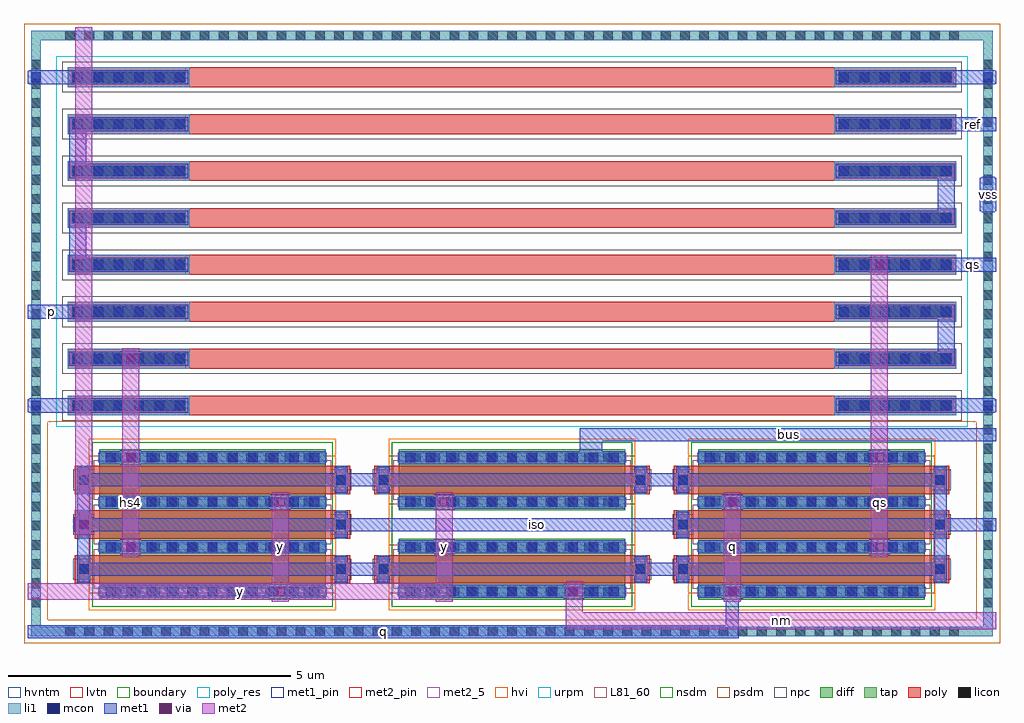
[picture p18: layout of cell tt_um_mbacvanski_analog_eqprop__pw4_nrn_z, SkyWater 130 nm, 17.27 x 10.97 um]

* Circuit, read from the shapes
.subckt tt_um_mbacvanski_analog_eqprop__pw4_nrn_z bus hs4 iso nm p q qs ref vss y
XM1 hs4 iso y vss sky130_fd_pr__nfet_05v0_nvt w=4 l=0.5 m=3
XM2 y iso nm vss sky130_fd_pr__nfet_05v0_nvt w=4 l=0.5
XM3 bus iso y vss sky130_fd_pr__nfet_05v0_nvt w=4 l=0.5
XM4 qs iso q vss sky130_fd_pr__nfet_05v0_nvt w=4 l=0.5 m=3
XR5 vss vss vss sky130_fd_pr__res_xhigh_po w=0.35 l=11.44 m=2
XR6 tt_um_mbacvanski_analog_eqprop__strips8_1/R1_5 hs4 vss sky130_fd_pr__res_xhigh_po w=0.35 l=11.44
XR7 tt_um_mbacvanski_analog_eqprop__strips8_1/R1_5 p vss sky130_fd_pr__res_xhigh_po w=0.35 l=11.44
XR8 qs tt_um_mbacvanski_analog_eqprop__strips8_1/R2_3 vss sky130_fd_pr__res_xhigh_po w=0.35 l=11.44
XR9 tt_um_mbacvanski_analog_eqprop__strips8_1/R1_2 tt_um_mbacvanski_analog_eqprop__strips8_1/R2_3 vss sky130_fd_pr__res_xhigh_po w=0.35 l=11.44
XR10 tt_um_mbacvanski_analog_eqprop__strips8_1/R1_2 tt_um_mbacvanski_analog_eqprop__strips8_1/R2_1 vss sky130_fd_pr__res_xhigh_po w=0.35 l=11.44
XR11 ref tt_um_mbacvanski_analog_eqprop__strips8_1/R2_1 vss sky130_fd_pr__res_xhigh_po w=0.35 l=11.44
.ends

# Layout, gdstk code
from math import pi, radians
import gdstk
lib = gdstk.Library(unit=1e-6, precision=1e-09)
def R(c, l, rs):  # rectangles x0, y0, x1, y1
    for r in rs: c.add(gdstk.rectangle(r[:2], r[2:], *l))
def A(c, l, x, y, w, h, nx, ny, dx, dy):  # array of equal rectangles
    R(c, l, [(x+i*dx, y+j*dy, x+i*dx+w, y+j*dy+h) for i in range(nx) for j in range(ny)])
diff = (65, 20)
tap = (65, 44)
poly_res = (66, 13)
poly = (66, 20)
licon = (66, 44)
li1 = (67, 20)
mcon = (67, 44)
met1_pin = (68, 16)
met1 = (68, 20)
via = (68, 44)
met2_5 = (69, 5)
met2_pin = (69, 16)
met2 = (69, 20)
hvi = (75, 20)
urpm = (79, 20)
L81_60 = (81, 60)
nsdm = (93, 44)
psdm = (94, 20)
npc = (95, 20)
hvntm = (125, 20)
lvtn = (125, 44)
boundary = (235, 4)

tt_um_mbacvanski_analog_ = lib.new_cell('tt_um_mbacvanski_analog_eqprop__sw4')
R(tt_um_mbacvanski_analog_, diff, [(-0.54,-2,0.54,2)])
R(tt_um_mbacvanski_analog_, poly, [(-0.25,-2.44,0.25,2.44)])
A(tt_um_mbacvanski_analog_, licon, -0.48, -1.785, 0.17, 0.17, 1, 11, 0, 0.34)
A(tt_um_mbacvanski_analog_, licon, 0.31, -1.785, 0.17, 0.17, 1, 11, 0, 0.34)
R(tt_um_mbacvanski_analog_, licon, [(-0.085,-2.36,0.085,-2.19), (-0.085,2.19,0.085,2.36)])
R(tt_um_mbacvanski_analog_, li1, [(-0.25,-2.36,0.25,-2.19), (-0.48,-2.02,-0.31,2.02), (0.31,-2.02,0.48,2.02), (-0.25,2.19,0.25,2.36)])
A(tt_um_mbacvanski_analog_, mcon, -0.48, -1.885, 0.17, 0.17, 1, 11, 0, 0.36)
A(tt_um_mbacvanski_analog_, mcon, 0.31, -1.885, 0.17, 0.17, 1, 11, 0, 0.36)
R(tt_um_mbacvanski_analog_, mcon, [(-0.085,-2.36,0.085,-2.19), (-0.085,2.19,0.085,2.36)])
R(tt_um_mbacvanski_analog_, met1, [(-0.23,-2.39,0.23,-2.16), (-0.51,-2,-0.28,2), (0.28,-2,0.51,2), (-0.23,2.16,0.23,2.39)])
R(tt_um_mbacvanski_analog_, hvi, [(-0.725,-2.185,0.725,2.185)])
R(tt_um_mbacvanski_analog_, L81_60, [(-0.35,-2.1,0.35,2.1)])
R(tt_um_mbacvanski_analog_, nsdm, [(-0.665,-2.125,0.665,2.125)])
R(tt_um_mbacvanski_analog_, npc, [(-0.185,-2.46,0.185,-2.09), (-0.185,2.09,0.185,2.46)])
R(tt_um_mbacvanski_analog_, hvntm, [(-0.725,-2.185,0.725,2.185)])
R(tt_um_mbacvanski_analog_, lvtn, [(-0.43,-2.18,0.43,2.18)])
tt_um_mbacvanski_analog_.add(gdstk.Label('G', (0,2.275), layer=67, texttype=5))
tt_um_mbacvanski_analog_.add(gdstk.Label('S', (0.395,0), layer=67, texttype=5))
tt_um_mbacvanski_analog_.add(gdstk.Label('D', (-0.395,0), layer=67, texttype=5))

c_tt_um_mbacvanski_analog_ = lib.new_cell('tt_um_mbacvanski_analog_eqprop__strips8')
A(c_tt_um_mbacvanski_analog_, poly_res, -3.08, -5.78, 0.35, 11.56, 8, 1, 0.83, 0)
A(c_tt_um_mbacvanski_analog_, poly, -3.08, -7.86, 0.35, 15.72, 8, 1, 0.83, 0)
A(c_tt_um_mbacvanski_analog_, licon, -3, -7.78, 0.19, 2, 8, 2, 0.83, 13.56)
A(c_tt_um_mbacvanski_analog_, li1, -3.08, -7.86, 0.35, 2.16, 8, 2, 0.83, 13.56)
A(c_tt_um_mbacvanski_analog_, mcon, -2.99, -7.765, 0.17, 0.17, 8, 6, 0.83, 0.36)
A(c_tt_um_mbacvanski_analog_, mcon, -2.99, 5.79, 0.17, 0.17, 8, 6, 0.83, 0.36)
A(c_tt_um_mbacvanski_analog_, met1, -3.03, -7.83, 0.25, 2.105, 8, 2, 0.83, 13.555)
R(c_tt_um_mbacvanski_analog_, urpm, [(-3.28,-8.06,3.28,8.06)])
R(c_tt_um_mbacvanski_analog_, psdm, [(-3.19,-7.97,3.19,7.97)])
A(c_tt_um_mbacvanski_analog_, npc, -3.175, -7.955, 0.54, 15.91, 8, 1, 0.83, 0)
c_tt_um_mbacvanski_analog_.add(gdstk.Label('R2_7', (2.905,-7.685), layer=67, texttype=5))
c_tt_um_mbacvanski_analog_.add(gdstk.Label('R1_7', (2.905,7.685), layer=67, texttype=5))
c_tt_um_mbacvanski_analog_.add(gdstk.Label('R2_6', (2.075,-7.685), layer=67, texttype=5))
c_tt_um_mbacvanski_analog_.add(gdstk.Label('R1_0', (-2.905,7.685), layer=67, texttype=5))
c_tt_um_mbacvanski_analog_.add(gdstk.Label('R1_3', (-0.415,7.685), layer=67, texttype=5))
c_tt_um_mbacvanski_analog_.add(gdstk.Label('R1_1', (-2.075,7.685), layer=67, texttype=5))
c_tt_um_mbacvanski_analog_.add(gdstk.Label('R2_5', (1.245,-7.685), layer=67, texttype=5))
c_tt_um_mbacvanski_analog_.add(gdstk.Label('R2_0', (-2.905,-7.685), layer=67, texttype=5))
c_tt_um_mbacvanski_analog_.add(gdstk.Label('R2_1', (-2.075,-7.685), layer=67, texttype=5))
c_tt_um_mbacvanski_analog_.add(gdstk.Label('R2_2', (-1.245,-7.685), layer=67, texttype=5))
c_tt_um_mbacvanski_analog_.add(gdstk.Label('R1_6', (2.075,7.685), layer=67, texttype=5))
c_tt_um_mbacvanski_analog_.add(gdstk.Label('R2_3', (-0.415,-7.685), layer=67, texttype=5))
c_tt_um_mbacvanski_analog_.add(gdstk.Label('R1_2', (-1.245,7.685), layer=67, texttype=5))
c_tt_um_mbacvanski_analog_.add(gdstk.Label('R2_4', (0.415,-7.685), layer=67, texttype=5))
c_tt_um_mbacvanski_analog_.add(gdstk.Label('R1_5', (1.245,7.685), layer=67, texttype=5))
c_tt_um_mbacvanski_analog_.add(gdstk.Label('R1_4', (0.415,7.685), layer=67, texttype=5))

c_tt_um_mbacvanski_analog__ = lib.new_cell('tt_um_mbacvanski_analog_eqprop__sw12')
R(c_tt_um_mbacvanski_analog__, diff, [(-1.33,-2,1.33,2)])
A(c_tt_um_mbacvanski_analog__, poly, -1.04, -2.44, 0.5, 4.88, 3, 1, 0.79, 0)
A(c_tt_um_mbacvanski_analog__, licon, -0.875, -2.36, 0.17, 0.17, 3, 2, 0.79, 4.55)
A(c_tt_um_mbacvanski_analog__, licon, -1.27, -1.785, 0.17, 0.17, 4, 11, 0.79, 0.34)
A(c_tt_um_mbacvanski_analog__, li1, -1.04, -2.36, 0.5, 0.17, 3, 2, 0.79, 4.55)
A(c_tt_um_mbacvanski_analog__, li1, -1.27, -2.02, 0.17, 4.04, 4, 1, 0.79, 0)
A(c_tt_um_mbacvanski_analog__, mcon, -0.875, -2.36, 0.17, 0.17, 3, 2, 0.79, 4.55)
A(c_tt_um_mbacvanski_analog__, mcon, -1.27, -1.885, 0.17, 0.17, 4, 11, 0.79, 0.36)
A(c_tt_um_mbacvanski_analog__, met1, -1.02, -2.39, 0.46, 0.23, 3, 2, 0.79, 4.55)
A(c_tt_um_mbacvanski_analog__, met1, -1.3, -2, 0.23, 4, 4, 1, 0.79, 0)
R(c_tt_um_mbacvanski_analog__, hvi, [(-1.515,-2.185,1.515,2.185)])
A(c_tt_um_mbacvanski_analog__, L81_60, -1.14, -2.1, 0.7, 4.2, 3, 1, 0.79, 0)
R(c_tt_um_mbacvanski_analog__, nsdm, [(-1.455,-2.125,1.455,2.125)])
A(c_tt_um_mbacvanski_analog__, npc, -0.975, -2.46, 0.37, 0.37, 3, 2, 0.79, 4.55)
R(c_tt_um_mbacvanski_analog__, hvntm, [(-1.515,-2.185,1.515,2.185)])
R(c_tt_um_mbacvanski_analog__, lvtn, [(-1.22,-2.18,1.22,2.18)])
c_tt_um_mbacvanski_analog__.add(gdstk.Label('G2', (0.79,2.275), layer=67, texttype=5))
c_tt_um_mbacvanski_analog__.add(gdstk.Label('S2', (1.185,0), layer=67, texttype=5))
c_tt_um_mbacvanski_analog__.add(gdstk.Label('D2', (0.395,0), layer=67, texttype=5))
c_tt_um_mbacvanski_analog__.add(gdstk.Label('G1', (0,2.275), layer=67, texttype=5))
c_tt_um_mbacvanski_analog__.add(gdstk.Label('S1', (-0.395,0), layer=67, texttype=5))
c_tt_um_mbacvanski_analog__.add(gdstk.Label('G0', (-0.79,2.275), layer=67, texttype=5))
c_tt_um_mbacvanski_analog__.add(gdstk.Label('D0', (-1.185,0), layer=67, texttype=5))

c_tt_um_mbacvanski_analog___ = lib.new_cell('tt_um_mbacvanski_analog_eqprop__pw4_nrn_z')
R(c_tt_um_mbacvanski_analog___, tap, [(0,0,17.02,0.17), (0,0.17,0.17,10.55), (16.85,0.17,17.02,10.55), (0,10.55,17.02,10.72)])
A(c_tt_um_mbacvanski_analog___, licon, 0.605, 0, 0.17, 0.17, 47, 2, 0.34, 10.55)
A(c_tt_um_mbacvanski_analog___, licon, 0, 0.515, 0.17, 0.17, 1, 29, 0, 0.34)
A(c_tt_um_mbacvanski_analog___, licon, 16.85, 0.515, 0.17, 0.17, 1, 29, 0, 0.34)
R(c_tt_um_mbacvanski_analog___, li1, [(0,0,17.02,0.17), (0,0.17,0.17,10.55), (16.85,0.17,17.02,10.55), (0,10.55,17.02,10.72)])
R(c_tt_um_mbacvanski_analog___, mcon, [(0,4,0.17,4.17), (16.85,4,17.02,4.17), (16.85,7.735,17.02,7.905), (0,9.81,0.17,9.98), (16.85,9.81,17.02,9.98)])
R(c_tt_um_mbacvanski_analog___, met1_pin, [(6.18,0.035,6.28,0.135), (8.9,1.93,9,2.03), (13.345,3.515,13.445,3.615), (0.31,5.695,0.41,5.795), (16.61,6.525,16.71,6.625), (16.885,7.77,16.985,7.87), (16.61,9.015,16.71,9.115)])
R(c_tt_um_mbacvanski_analog___, met1, [(-0.06,-0.03,12.525,0.2), (12.295,0.2,12.525,0.665), (4.23,0.665,4.59,0.925), (9.43,0.665,9.79,0.925), (12.23,0.665,12.59,0.925), (0.82,0.96,1.05,1.075), (15.97,0.96,16.2,1.075), (0.82,1.075,16.2,1.305), (0.82,1.305,1.05,1.85), (15.97,1.305,16.2,1.865), (1.58,1.455,1.94,1.715), (7.13,1.455,7.49,1.715), (14.83,1.455,15.19,1.715), (0.755,1.85,1.115,1.865), (0.755,1.865,17.08,2.095), (0.755,2.095,1.115,2.11), (15.97,2.095,16.2,2.655), (0.82,2.11,1.05,2.655), (4.23,2.245,4.59,2.505), (7.13,2.245,7.49,2.505), (12.23,2.245,12.59,2.505), (0.82,2.655,16.2,2.885), (0.82,2.885,1.05,3), (15.97,2.885,16.2,3), (1.58,3.035,1.94,3.295), (14.83,3.035,15.19,3.295), (9.71,3.165,10.11,3.45), (9.71,3.45,17.08,3.68), (-0.03,3.96,0.78,3.97), (16.24,3.96,17.05,3.97), (-0.06,3.97,0.78,4.2), (16.24,3.97,17.08,4.2), (-0.03,4.2,0.78,4.21), (16.24,4.2,17.05,4.21), (1.58,4.785,1.94,5.045), (16.04,4.79,16.34,5.87), (-0.06,5.62,0.78,5.87), (14.83,6.445,15.19,6.705), (0.68,6.45,0.98,7.53), (16.24,6.45,17.08,6.7), (16.04,7.28,16.34,8.36), (16.82,7.505,17.05,7.52), (16.79,7.52,17.08,8.12), (0.68,8.11,0.98,9.19), (16.82,8.12,17.05,8.135), (16.24,8.94,17.08,9.19), (-0.03,9.77,0.78,9.78), (16.24,9.77,17.05,9.78), (-0.06,9.78,0.78,10.01), (16.24,9.78,17.08,10.01), (-0.03,10.01,0.78,10.02), (16.24,10.01,17.05,10.02)])
R(c_tt_um_mbacvanski_analog___, via, [(4.335,0.72,4.485,0.87), (9.535,0.72,9.685,0.87), (12.335,0.72,12.485,0.87), (1.685,1.51,1.835,1.66), (7.235,1.51,7.385,1.66), (14.935,1.51,15.085,1.66), (0.86,1.905,1.01,2.055), (4.335,2.3,4.485,2.45), (7.235,2.3,7.385,2.45), (12.335,2.3,12.485,2.45), (1.685,3.09,1.835,3.24), (14.935,3.09,15.085,3.24), (1.685,4.84,1.835,4.99), (14.935,6.5,15.085,6.65)])
R(c_tt_um_mbacvanski_analog___, met2_5, [(4.36,1.535,4.46,1.635), (7.26,1.535,7.36,1.635), (12.36,1.535,12.46,1.635), (1.71,2.325,1.81,2.425), (14.96,2.325,15.06,2.425)])
R(c_tt_um_mbacvanski_analog___, met2_pin, [(13.22,0.23,13.32,0.33), (3.65,0.745,3.75,0.845)])
R(c_tt_um_mbacvanski_analog___, met2, [(9.46,0.13,17.08,0.43), (9.46,0.43,9.76,0.975), (4.26,0.615,4.56,0.645), (7.16,0.615,7.46,0.645), (12.26,0.615,12.56,2.555), (-0.06,0.645,7.46,0.945), (4.26,0.945,4.56,2.555), (7.16,0.945,7.46,2.555), (1.61,1.405,1.91,5.095), (14.86,1.405,15.16,6.755), (0.785,1.8,1.085,10.78)])
R(c_tt_um_mbacvanski_analog___, hvi, [(6.325,1.915,10.695,2.045)])
R(c_tt_um_mbacvanski_analog___, nsdm, [(6.385,1.855,10.635,2.105)])
R(c_tt_um_mbacvanski_analog___, psdm, [(-0.125,-0.125,17.145,0.295), (-0.125,0.295,0.295,3.8), (16.725,0.295,17.145,3.8), (-0.125,3.8,0.54,10.18), (16.48,3.8,17.145,10.18), (-0.125,10.18,17.145,10.845)])
R(c_tt_um_mbacvanski_analog___, hvntm, [(6.325,1.915,10.695,2.045)])
R(c_tt_um_mbacvanski_analog___, boundary, [(0,0,17.02,10.72)])
c_tt_um_mbacvanski_analog___.add(gdstk.Reference(tt_um_mbacvanski_analog_, (8.51,2.77), rotation=3*pi/2))
c_tt_um_mbacvanski_analog___.add(gdstk.Reference(c_tt_um_mbacvanski_analog_, (8.51,6.99), rotation=3*pi/2))
c_tt_um_mbacvanski_analog___.add(gdstk.Reference(c_tt_um_mbacvanski_analog__, (3.21,1.98), rotation=3*pi/2))
c_tt_um_mbacvanski_analog___.add(gdstk.Reference(c_tt_um_mbacvanski_analog__, (13.81,1.98), rotation=3*pi/2))
c_tt_um_mbacvanski_analog___.add(gdstk.Reference(tt_um_mbacvanski_analog_, (8.51,1.19), rotation=3*pi/2))
c_tt_um_mbacvanski_analog___.add(gdstk.Label('bus', (13.395,3.565), layer=68, texttype=5))
c_tt_um_mbacvanski_analog___.add(gdstk.Label('vss', (16.935,7.82), layer=68, texttype=5))
c_tt_um_mbacvanski_analog___.add(gdstk.Label('ref', (16.66,9.065), layer=68, texttype=5))
c_tt_um_mbacvanski_analog___.add(gdstk.Label('q', (6.23,0.085), layer=68, texttype=5))
c_tt_um_mbacvanski_analog___.add(gdstk.Label('p', (0.36,5.745), layer=68, texttype=5))
c_tt_um_mbacvanski_analog___.add(gdstk.Label('qs', (16.66,6.575), layer=68, texttype=5))
c_tt_um_mbacvanski_analog___.add(gdstk.Label('iso', (8.95,1.98), layer=68, texttype=5))
c_tt_um_mbacvanski_analog___.add(gdstk.Label('q', (12.41,1.585), layer=69, texttype=5))
c_tt_um_mbacvanski_analog___.add(gdstk.Label('qs', (15.01,2.375), layer=69, texttype=5))
c_tt_um_mbacvanski_analog___.add(gdstk.Label('hs4', (1.76,2.375), layer=69, texttype=5))
c_tt_um_mbacvanski_analog___.add(gdstk.Label('nm', (13.27,0.28), layer=69, texttype=5))
c_tt_um_mbacvanski_analog___.add(gdstk.Label('y', (3.7,0.795), layer=69, texttype=5))
c_tt_um_mbacvanski_analog___.add(gdstk.Label('y', (4.41,1.585), layer=69, texttype=5))
c_tt_um_mbacvanski_analog___.add(gdstk.Label('y', (7.31,1.585), layer=69, texttype=5))

lib.write_gds('tt_um_mbacvanski_analog_eqprop__pw4_nrn_z.gds')
